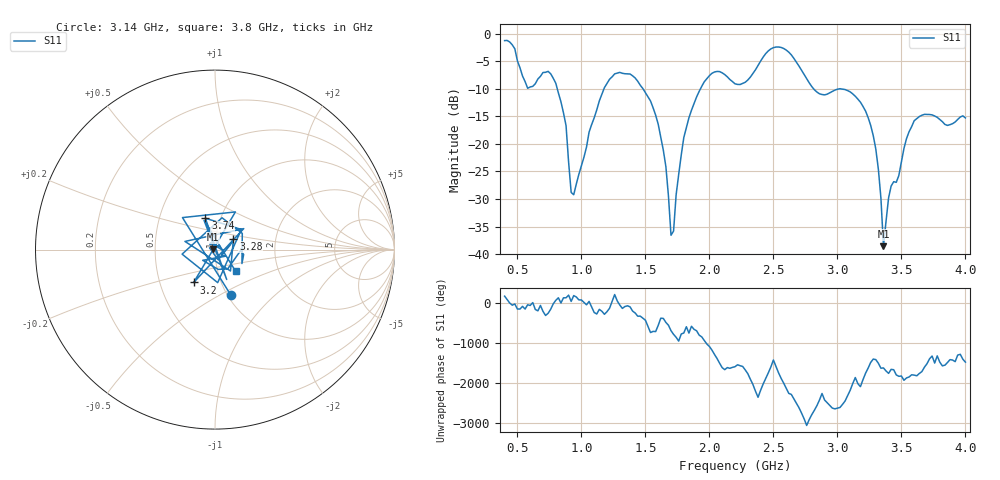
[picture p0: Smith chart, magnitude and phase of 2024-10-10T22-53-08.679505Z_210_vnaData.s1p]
! Created with skrf (http://scikit-rf.org).
# Hz S RI R 50.0
!freq ReS11 ImS11
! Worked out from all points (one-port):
!   181 points, 400 MHz to 4 GHz, reference 50 ohm
!   lowest |S11| = -38.5 dB at 3.36 GHz (marker M1), VSWR 1.02, Z = 48.8 + j0.205 ohm
!   |S11| at or under -10 dB: 811.2 MHz to 1.177 GHz (365.4 MHz wide, 36.8 % of centre); 1.481 GHz to 1.931 GHz (450 MHz wide, 26.4 % of centre); 2.813 GHz to end of sweep
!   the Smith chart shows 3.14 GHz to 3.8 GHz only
!   S11 on the Smith chart (normalised r, x): 3.14 GHz: 1.04, -0.57; 3.2 GHz: 0.74, -0.29; 3.28 GHz: 1.22, +0.15; 3.74 GHz: 0.85, +0.31; 3.8 GHz: 1.22, -0.30
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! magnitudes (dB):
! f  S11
! 400 MHz  -1.3
! 580 MHz  -9.9
! 760 MHz  -7.3
! 860 MHz  -14.4
! 940 MHz  -29.2
! 1.14 GHz  -12.2
! 1.3 GHz  -7.0
! 1.58 GHz  -14.8
! 1.66 GHz  -24.1
! 1.7 GHz  -36.6
! 1.76 GHz  -25.5
! 1.84 GHz  -15.3
! 1.96 GHz  -8.7
! 2.2 GHz  -9.1
! 2.5 GHz  -2.6
! 2.66 GHz  -4.5
! 2.86 GHz  -10.9
! 3.1 GHz  -10.6
! 3.14 GHz  -11.4
! 3.2 GHz  -13.2
! 3.28 GHz  -18.5
! 3.32 GHz  -24.6
! 3.36 GHz  -38.5
! 3.42 GHz  -27.6
! 3.56 GHz  -17.8
! 3.74 GHz  -14.7
! 3.8 GHz  -15.6
! 4 GHz  -15.3
